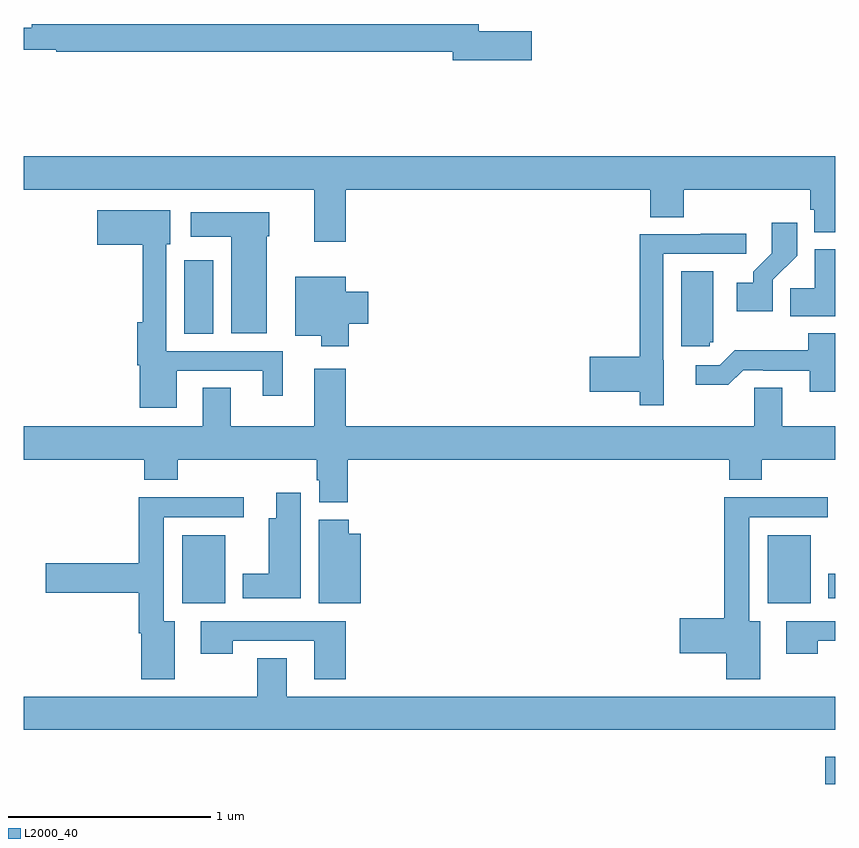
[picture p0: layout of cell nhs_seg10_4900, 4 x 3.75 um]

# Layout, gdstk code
import gdstk
lib = gdstk.Library(unit=1e-6, precision=1e-09)
def R(c, l, rs):  # rectangles x0, y0, x1, y1
    for r in rs: c.add(gdstk.rectangle(r[:2], r[2:], *l))
def P(c, l, *ps):  # polygons
    for p in ps: c.add(gdstk.Polygon(p, *l))
L2000_40 = (2000, 40)

nhs_seg10_4900 = lib.new_cell('nhs_seg10_4900')
R(nhs_seg10_4900, L2000_40, [(396.951,1282.733,397,1282.867), (393.782,1283.624,393.994,1283.959), (396.668,1283.624,396.88,1283.959), (396.965,1283.648,397,1283.77), (393.791,1284.952,393.934,1285.315)])
P(nhs_seg10_4900, L2000_40, [(395.503,1286.444),(395.242,1286.444),(395.242,1286.48),(393.04,1286.48),(393.04,1286.461),(393,1286.461),(393,1286.352),(393.161,1286.352),(393.161,1286.344),(395.114,1286.344),(395.114,1286.302),(395.503,1286.302)],
  [(394.586,1285.664),(396.089,1285.664),(396.089,1285.528),(396.254,1285.528),(396.254,1285.664),(396.877,1285.664),(396.877,1285.563),(396.897,1285.563),(396.897,1285.454),(397,1285.454),(397,1285.828),(393,1285.828),(393,1285.664),(394.433,1285.664),(394.433,1285.407),(394.586,1285.407)],
  [(393.754,1284.771),(394.178,1284.771),(394.178,1284.648),(394.276,1284.648),(394.276,1284.867),(393.702,1284.867),(393.702,1285.395),(393.721,1285.395),(393.721,1285.561),(393.363,1285.561),(393.363,1285.391),(393.586,1285.391),(393.586,1285.009),(393.56,1285.009),(393.56,1284.798),(393.572,1284.798),(393.572,1284.587),(393.754,1284.587)],
  [(394.198,1285.434),(394.21,1285.434),(394.21,1285.552),(393.822,1285.552),(393.822,1285.43),(394.022,1285.43),(394.022,1284.956),(394.198,1284.956)],
  [(396.693,1285.219),(396.812,1285.338),(396.812,1285.501),(396.687,1285.501),(396.687,1285.349),(396.596,1285.259),(396.596,1285.204),(396.516,1285.204),(396.516,1285.064),(396.693,1285.064)],
  [(396.154,1284.822),(396.153,1284.822),(396.153,1285.347),(396.562,1285.347),(396.562,1285.446),(396.337,1285.446),(396.337,1285.443),(396.037,1285.443),(396.037,1284.839),(395.79,1284.839),(395.79,1284.668),(396.037,1284.668),(396.037,1284.6),(396.154,1284.6)],
  [(397,1285.369),(396.899,1285.369),(396.899,1285.178),(396.778,1285.178),(396.778,1285.04),(397,1285.04)],
  [(396.381,1284.912),(396.4,1284.912),(396.4,1285.261),(396.242,1285.261),(396.242,1284.891),(396.381,1284.891)],
  [(394.601,1285.001),(394.699,1285.001),(394.699,1285.159),(394.588,1285.159),(394.588,1285.234),(394.337,1285.234),(394.337,1284.944),(394.466,1284.944),(394.466,1284.89),(394.601,1284.89)],
  [(397,1284.955),(396.868,1284.955),(396.868,1284.871),(396.505,1284.871),(396.432,1284.798),(396.312,1284.798),(396.312,1284.701),(396.473,1284.701),(396.546,1284.774),(396.646,1284.774),(396.646,1284.771),(396.875,1284.771),(396.875,1284.666),(397,1284.666)],
  [(394.598,1284.332),(396.479,1284.332),(396.479,1284.233),(396.639,1284.233),(396.639,1284.332),(397,1284.332),(397,1284.496),(396.739,1284.496),(396.739,1284.686),(396.6,1284.686),(396.6,1284.496),(394.586,1284.496),(394.586,1284.781),(394.433,1284.781),(394.433,1284.496),(394.021,1284.496),(394.021,1284.686),(393.881,1284.686),(393.881,1284.496),(393,1284.496),(393,1284.332),(393.593,1284.332),(393.593,1284.233),(393.758,1284.233),(393.758,1284.332),(394.445,1284.332),(394.445,1284.231),(394.457,1284.231),(394.457,1284.121),(394.598,1284.121)],
  [(394.366,1284.169),(394.244,1284.169),(394.244,1284.043),(394.208,1284.043),(394.208,1283.77),(394.079,1283.77),(394.079,1283.648),(394.366,1283.648)],
  [(393.745,1283.536),(393.691,1283.536),(393.691,1284.048),(394.084,1284.048),(394.084,1284.146),(393.566,1284.146),(393.566,1283.822),(393.108,1283.822),(393.108,1283.675),(393.566,1283.675),(393.566,1283.477),(393.578,1283.477),(393.578,1283.25),(393.745,1283.25)],
  [(396.631,1283.536),(396.577,1283.536),(396.577,1284.048),(396.964,1284.048),(396.964,1284.146),(396.452,1284.146),(396.452,1283.549),(396.234,1283.549),(396.234,1283.378),(396.464,1283.378),(396.464,1283.25),(396.631,1283.25)],
  [(394.66,1283.968),(394.601,1283.968),(394.601,1284.036),(394.454,1284.036),(394.454,1283.624),(394.66,1283.624)],
  [(394.586,1283.535),(393.873,1283.535),(393.873,1283.376),(394.029,1283.376),(394.029,1283.439),(394.433,1283.439),(394.433,1283.25),(394.586,1283.25)],
  [(396.915,1283.439),(397,1283.439),(397,1283.535),(396.759,1283.535),(396.759,1283.376),(396.915,1283.376)],
  [(394.15,1283.354),(394.15,1283.164),(393,1283.164),(393,1283),(397,1283),(397,1283.164),(394.297,1283.164),(394.297,1283.354)])

lib.write_gds('nhs_seg10_4900.gds')
